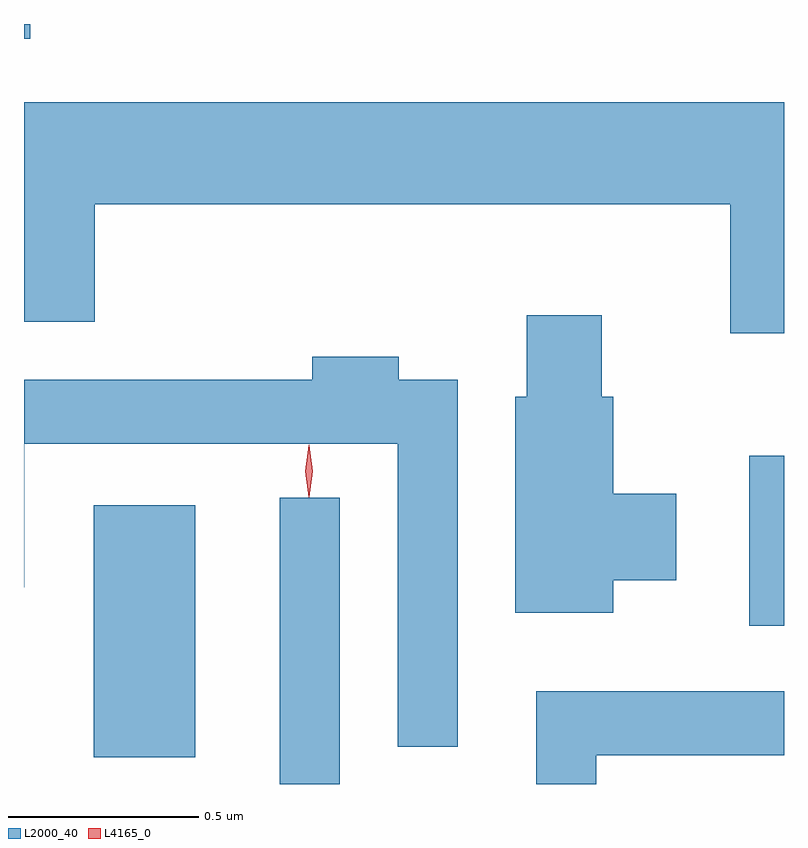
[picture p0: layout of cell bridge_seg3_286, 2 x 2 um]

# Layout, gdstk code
import gdstk
lib = gdstk.Library(unit=1e-6, precision=1e-09)
def R(c, l, rs):  # rectangles x0, y0, x1, y1
    for r in rs: c.add(gdstk.rectangle(r[:2], r[2:], *l))
def P(c, l, *ps):  # polygons
    for p in ps: c.add(gdstk.Polygon(p, *l))
L2000_40 = (2000, 40)
L4165_0 = (4165, 0)

bridge_seg3_286 = lib.new_cell('bridge_seg3_286')
R(bridge_seg3_286, L2000_40, [(1047.146,1142.25,1047.304,1143.003), (1046.656,1142.321,1046.924,1142.984), (1048.381,1142.666,1048.473,1143.114), (1046.473,1144.211,1046.489,1144.25)])
P(bridge_seg3_286, L2000_40, [(1048.473,1144.044),(1046.473,1144.044),(1046.473,1143.466),(1046.659,1143.466),(1046.659,1143.776),(1048.331,1143.776),(1048.331,1143.436),(1048.473,1143.436)],
  [(1048.024,1142.786),(1048.189,1142.786),(1048.189,1143.014),(1048.024,1143.014),(1048.024,1143.269),(1047.994,1143.269),(1047.994,1143.484),(1047.796,1143.484),(1047.796,1143.269),(1047.766,1143.269),(1047.766,1142.701),(1048.024,1142.701)],
  [(1047.614,1143.314),(1047.459,1143.314),(1047.459,1143.374),(1047.231,1143.374),(1047.231,1143.314),(1046.473,1143.314),(1046.473,1142.768),(1046.474,1142.768),(1046.474,1143.146),(1047.456,1143.146),(1047.456,1142.348),(1047.614,1142.348)],
  [(1047.979,1142.326),(1048.473,1142.326),(1048.473,1142.494),(1047.821,1142.494),(1047.821,1142.25),(1047.979,1142.25)])
P(bridge_seg3_286, L4165_0, [(1047.222,1143.004),(1047.213,1143.073),(1047.222,1143.142),(1047.223,1143.143),(1047.223,1143.142),(1047.233,1143.073),(1047.223,1143.004),(1047.223,1143.004)])

lib.write_gds('bridge_seg3_286.gds')
